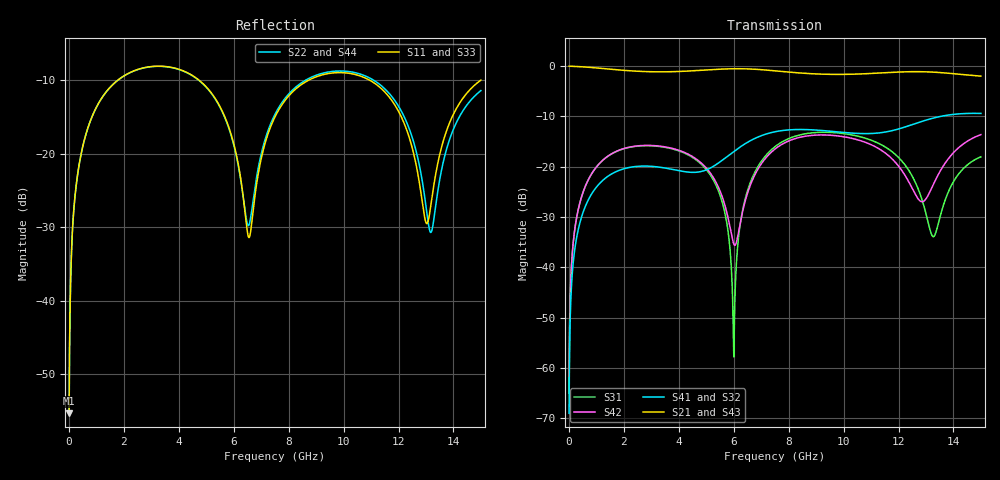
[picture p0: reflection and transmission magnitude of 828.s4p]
! Created with skrf 1.8.0 (http://scikit-rf.org).
# GHz S RI R 50.0
!freq ReS11 ImS11 ReS12 ImS12 ReS13 ImS13
! ReS14 ImS14
! ReS21 ImS21 ReS22 ImS22 ReS23 ImS23
! ReS24 ImS24
! ReS31 ImS31 ReS32 ImS32 ReS33 ImS33
! ReS34 ImS34
! ReS41 ImS41 ReS42 ImS42 ReS43 ImS43
! ReS44 ImS44
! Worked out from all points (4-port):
!   2499 points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, 5 MHz to 15 GHz, reference 50 ohm
!   strongest paths, dB at 5 MHz, 3.476 GHz, 7.19 GHz, 11.1 GHz, 15 GHz:
!     S21: 0.0, -1.1, -0.8, -1.4, -2.0
!     S43: 0.0, -1.1, -0.8, -1.4, -2.0
!     S41: -69.0, -20.2, -13.5, -13.4, -9.4
!     S32: -69.0, -20.2, -13.5, -13.3, -9.4
!     S42: -64.9, -16.0, -18.1, -15.9, -13.6
!     S31: -64.9, -16.1, -17.6, -14.9, -18.0
!   lowest |S11| = -55.3 dB at 5 MHz (marker M1), VSWR 1.00, Z = 50.1 + j0.104 ohm
!   |S11| at or under -10 dB: start of sweep to 1.793 GHz; 4.721 GHz to 8.749 GHz (4.029 GHz wide, 59.8 % of centre); 10.93 GHz to end of sweep
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0.005  0.00137 0.00104  0.9986 -0.00267  6.88e-05 0.000563  -6.67e-05 -0.000349
       0.9986 -0.00267  0.00137 0.00104  -6.67e-05 -0.000349  6.88e-05 0.000563
       6.88e-05 0.000563  -6.67e-05 -0.000349  0.00137 0.00104  0.9986 -0.00267
       -6.67e-05 -0.000349  6.88e-05 0.000563  0.9986 -0.00267  0.00137 0.00104
0.3626511  0.0223 0.0793  0.9694 -0.1927  0.0106 0.0389  -0.00882 -0.0239
           0.9694 -0.1927  0.0223 0.0793  -0.00882 -0.0239  0.0107 0.0389
           0.0106 0.0389  -0.00882 -0.0239  0.0223 0.0793  0.9694 -0.1927
           -0.00882 -0.0239  0.0107 0.0389  0.9694 -0.1927  0.0223 0.0793
1.67  0.2377 0.1872  0.6158 -0.6877  0.1188 0.0733  -0.0866 -0.017
      0.6158 -0.6877  0.2371 0.1876  -0.0867 -0.017  0.1204 0.0715
      0.1188 0.0733  -0.0867 -0.017  0.2376 0.1871  0.6158 -0.6877
      -0.0866 -0.017  0.1204 0.0715  0.6158 -0.6877  0.2371 0.1875
5.996248  0.0529 -0.1046  -0.8847 -0.3226  0.00133 -0.000335  -0.0445 0.1343
          -0.8847 -0.3226  0.0571 -0.1001  -0.0435 0.1347  -0.0157 -0.00708
          0.00133 -0.000335  -0.0435 0.1347  0.0531 -0.1022  -0.8852 -0.3221
          -0.0445 0.1343  -0.0157 -0.00708  -0.8852 -0.3221  0.0552 -0.0984
6.565236  0.027 0.000278  -0.9354 -0.0522  0.0163 0.0632  -0.00517 0.179
          -0.9354 -0.0522  0.0328 0.0044  -0.00386 0.179  -0.00374 0.0613
          0.0163 0.0632  -0.00386 0.179  0.0282 0.00287  -0.9355 -0.0514
          -0.00517 0.179  -0.00374 0.0613  -0.9355 -0.0514  0.0313 0.00705
10.65444  0.3179 -0.1009  0.1748 0.8181  0.1465 -0.1319  0.1825 -0.1112
          0.1748 0.8181  0.3252 -0.1114  0.1817 -0.1135  0.1553 -0.0916
          0.1465 -0.1319  0.1817 -0.1135  0.3199 -0.1019  0.1731 0.8176
          0.1825 -0.1112  0.1553 -0.0916  0.1731 0.8176  0.3287 -0.1101
15  0.2635 0.1726  0.5907 -0.5322  0.1232 0.0244  -0.2588 -0.219
    0.5907 -0.5322  0.2183 0.1544  -0.2622 -0.2149  0.2042 -0.0423
    0.1232 0.0244  -0.2622 -0.2149  0.2674 0.1746  0.5912 -0.5293
    -0.2588 -0.219  0.2042 -0.0423  0.5912 -0.5293  0.2209 0.1597
